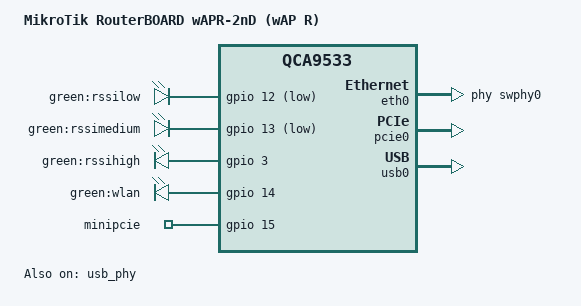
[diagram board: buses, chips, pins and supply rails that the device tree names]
// SPDX-License-Identifier: GPL-2.0-or-later OR MIT

#include "qca9533_mikrotik_routerboard-16m.dtsi"

/ {
	compatible = "mikrotik,routerboard-wapr-2nd", "qca,qca9533";
	model = "MikroTik RouterBOARD wAPR-2nD (wAP R)";

	aliases {
		led-boot = &led_rssilow;
		led-failsafe = &led_rssilow;
		led-upgrade = &led_rssilow;
		led-running = &led_rssilow;
	};

	leds {
		compatible = "gpio-leds";
		pinctrl-names = "default";

		led_rssilow: rssilow {
			label = "green:rssilow";
			gpios = <&gpio 12 GPIO_ACTIVE_LOW>;
		};

		rssimedium {
			label = "green:rssimedium";
			gpios = <&gpio 13 GPIO_ACTIVE_LOW>;
		};

		rssihigh {
			label = "green:rssihigh";
			gpios = <&gpio 3 GPIO_ACTIVE_HIGH>;
		};

		wlan {
			label = "green:wlan";
			gpios = <&gpio 14 GPIO_ACTIVE_HIGH>;
			linux,default-trigger = "phy0tpt";
		};
	};

	gpio-export {
		compatible = "gpio-export";

		minipcie {
			gpio-export,name = "minipcie";
			gpio-export,output = <1>;
			gpios = <&gpio 15 GPIO_ACTIVE_HIGH>;
		};
	};
};

&eth0 {
	status = "okay";

	phy-handle = <&swphy0>;

	gmac-config {
		device = <&gmac>;
		switch-phy-swap = <1>;
	};
};

&eth1 {
	compatible = "syscon", "simple-mfd";
};

&pcie0 {
	status = "okay";
};

&usb0 {
	status = "okay";
};

&usb_phy {
	status = "okay";
};
